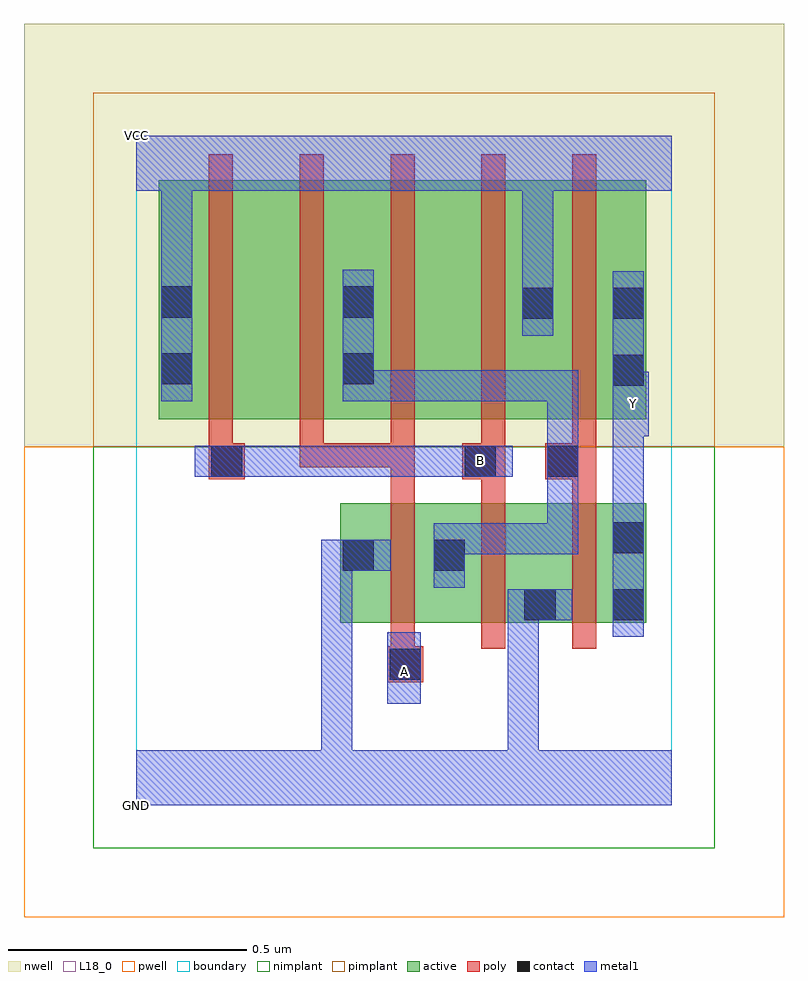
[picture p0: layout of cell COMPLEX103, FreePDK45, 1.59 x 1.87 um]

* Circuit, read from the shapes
.subckt COMPLEX103 A B GND VCC Y
M1 n1 A GND VSUBS nfet w=0.25u l=0.05u
M2 GND B n1 VSUBS nfet w=0.25u l=0.05u
M3 Y n1 GND VSUBS nfet w=0.25u l=0.05u
M4 n2 B VCC n3 pfet w=0.5u l=0.05u
M5 n1 A n2 n3 pfet w=0.5u l=0.05u
M6 n4 A n1 n3 pfet w=0.5u l=0.05u
M7 VCC B n4 n3 pfet w=0.5u l=0.05u
M8 Y n1 VCC n3 pfet w=0.5u l=0.05u
.ends

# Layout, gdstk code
import gdstk
lib = gdstk.Library(unit=1e-6, precision=1e-09)
def R(c, l, rs):  # rectangles x0, y0, x1, y1
    for r in rs: c.add(gdstk.rectangle(r[:2], r[2:], *l))
def A(c, l, x, y, w, h, nx, ny, dx, dy):  # array of equal rectangles
    R(c, l, [(x+i*dx, y+j*dy, x+i*dx+w, y+j*dy+h) for i in range(nx) for j in range(ny)])
active = (1, 0)
pwell = (2, 0)
nwell = (3, 0)
nimplant = (4, 0)
pimplant = (5, 0)
poly = (9, 0)
contact = (10, 0)
metal1 = (11, 0)
L18_0 = (18, 0)
boundary = (235, 0)

complex103 = lib.new_cell('COMPLEX103')
R(complex103, active, [(0.427,0.382,0.502,0.632), (0.427,0.382,0.692,0.632), (0.617,0.382,0.692,0.632), (0.617,0.382,0.882,0.632), (0.807,0.382,1.067,0.632), (0.807,0.382,0.882,0.497), (0.992,0.382,1.067,0.632), (0.047,0.807,0.122,1.305), (0.047,0.807,0.272,1.307), (0.272,0.807,0.502,1.307), (0.427,0.807,0.502,1.2), (0.427,0.807,0.652,1.307), (0.652,0.807,0.877,1.307), (0.802,0.807,1.067,1.307), (0.802,0.807,0.877,1.305), (0.992,0.807,1.067,1.2)])
R(complex103, pwell, [(-0.235,-0.235,1.355,0.75)])
R(complex103, nwell, [(-0.235,0.75,1.355,1.635)])
R(complex103, nimplant, [(-0.09,-0.09,1.21,0.75)])
R(complex103, pimplant, [(-0.09,0.75,1.21,1.49)])
A(complex103, poly, 0.532, 0.327, 0.05, 0.36, 3, 1, 0.19, 0)
A(complex103, poly, 0.152, 0.707, 0.05, 0.095, 5, 1, 0.19, 0)
A(complex103, poly, 0.152, 0.752, 0.05, 0.61, 5, 1, 0.19, 0)
R(complex103, poly, [(0.525,0.257,0.6,0.332), (0.532,0.282,0.582,0.377), (0.532,0.637,0.582,0.757), (0.722,0.637,0.772,0.732), (0.912,0.637,0.962,0.732), (0.152,0.682,0.227,0.757), (0.682,0.682,0.772,0.757), (0.855,0.682,0.962,0.757), (0.342,0.707,0.582,0.757), (0.342,0.707,0.392,0.757), (0.342,0.707,0.392,0.757), (0.342,0.707,0.392,0.757), (0.532,0.707,0.582,0.757)])
R(complex103, contact, [(0.53,0.262,0.595,0.327), (0.812,0.387,0.877,0.452), (0.997,0.387,1.062,0.452), (0.432,0.49,0.497,0.555), (0.622,0.49,0.687,0.555), (0.997,0.527,1.062,0.592), (0.157,0.687,0.222,0.752), (0.687,0.687,0.752,0.752), (0.86,0.687,0.925,0.752), (0.997,0.877,1.062,0.942), (0.052,0.88,0.117,0.945), (0.432,0.88,0.497,0.945), (0.807,1.017,0.872,1.082), (0.997,1.017,1.062,1.082), (0.052,1.02,0.117,1.085), (0.432,1.02,0.497,1.085)])
A(complex103, metal1, 0.33, 0.687, 0.065, 0.065, 3, 1, 0.155, 0)
R(complex103, metal1, [(0,0,1.12,0.115), (0.387,0.05,0.452,0.115), (0.387,0.05,0.452,0.115), (0.387,0.05,0.452,0.115), (0.387,0.05,0.452,0.115), (0.387,0.05,0.452,0.555), (0.777,0.05,0.842,0.452), (0.525,0.212,0.595,0.362), (0.997,0.352,1.062,0.627), (0.777,0.387,0.842,0.452), (0.777,0.387,0.842,0.452), (0.777,0.387,0.842,0.452), (0.777,0.387,0.842,0.452), (0.777,0.387,0.842,0.452), (0.777,0.387,0.842,0.452), (0.777,0.387,0.912,0.452), (0.622,0.455,0.687,0.59), (0.387,0.49,0.452,0.555), (0.387,0.49,0.452,0.555), (0.387,0.49,0.532,0.555), (0.622,0.525,0.687,0.59), (0.622,0.525,0.687,0.59), (0.622,0.525,0.925,0.59), (0.86,0.525,0.925,0.59), (0.86,0.525,0.925,0.787), (0.997,0.562,1.062,0.837), (0.86,0.652,0.925,0.787), (0.122,0.687,0.257,0.752), (0.192,0.687,0.257,0.752), (0.192,0.687,0.257,0.752), (0.192,0.687,0.395,0.752), (0.33,0.687,0.395,0.752), (0.33,0.687,0.395,0.752), (0.33,0.687,0.55,0.752), (0.485,0.687,0.705,0.752), (0.64,0.687,0.717,0.752), (0.652,0.687,0.787,0.752), (0.86,0.722,0.925,0.787), (0.86,0.722,0.925,0.787), (0.86,0.722,0.925,0.91), (0.997,0.772,1.072,0.907), (0.997,0.842,1.062,0.907), (0.997,0.842,1.062,1.117), (0.052,0.845,0.117,1.12), (0.432,0.845,0.497,1.12), (0.432,0.845,0.532,0.91), (0.467,0.845,0.532,0.91), (0.467,0.845,0.705,0.91), (0.64,0.845,0.705,0.91), (0.64,0.845,0.705,0.91), (0.64,0.845,0.705,0.91), (0.64,0.845,0.925,0.91), (0.86,0.845,0.925,0.91), (0.807,0.982,0.872,1.117), (0.807,1.052,0.872,1.35), (0.052,1.055,0.117,1.35), (0,1.285,1.12,1.4)])
A(complex103, L18_0, 0.33, 0.687, 0.065, 0.065, 3, 1, 0.155, 0)
R(complex103, L18_0, [(0,0,1.12,0.115), (0.387,0.05,0.452,0.115), (0.387,0.05,0.452,0.115), (0.387,0.05,0.452,0.115), (0.387,0.05,0.452,0.115), (0.387,0.05,0.452,0.555), (0.777,0.05,0.842,0.452), (0.525,0.212,0.595,0.362), (0.527,0.247,0.592,0.312), (0.997,0.352,1.062,0.627), (0.777,0.387,0.912,0.452), (0.777,0.387,0.842,0.452), (0.777,0.387,0.842,0.452), (0.777,0.387,0.842,0.452), (0.777,0.387,0.842,0.452), (0.777,0.387,0.842,0.452), (0.777,0.387,0.842,0.452), (0.387,0.49,0.452,0.555), (0.387,0.49,0.452,0.555), (0.387,0.49,0.532,0.555), (0.997,0.562,1.062,0.837), (0.122,0.687,0.257,0.752), (0.192,0.687,0.257,0.752), (0.192,0.687,0.257,0.752), (0.192,0.687,0.395,0.752), (0.33,0.687,0.395,0.752), (0.33,0.687,0.395,0.752), (0.33,0.687,0.55,0.752), (0.485,0.687,0.705,0.752), (0.64,0.687,0.717,0.752), (0.652,0.687,0.787,0.752), (0.687,0.687,0.752,0.752), (0.997,0.772,1.072,0.907), (1.007,0.807,1.072,0.872), (0.997,0.842,1.062,1.117), (0.997,0.842,1.062,0.907), (0.052,0.845,0.117,1.12), (0.807,0.982,0.872,1.117), (0.807,1.052,0.872,1.35), (0.052,1.055,0.117,1.35), (0,1.285,1.12,1.4)])
R(complex103, boundary, [(0,0,1.12,1.4)])
complex103.add(gdstk.Label('A', (0.56,0.28), layer=11, texttype=0))
complex103.add(gdstk.Label('B', (0.72,0.72), layer=11, texttype=0))
complex103.add(gdstk.Label('Y', (1.04,0.84), layer=11, texttype=0))
complex103.add(gdstk.Label('VCC', (0,1.4), layer=11, texttype=0))
complex103.add(gdstk.Label('GND', (0,0), layer=11, texttype=0))

lib.write_gds('COMPLEX103.gds')
